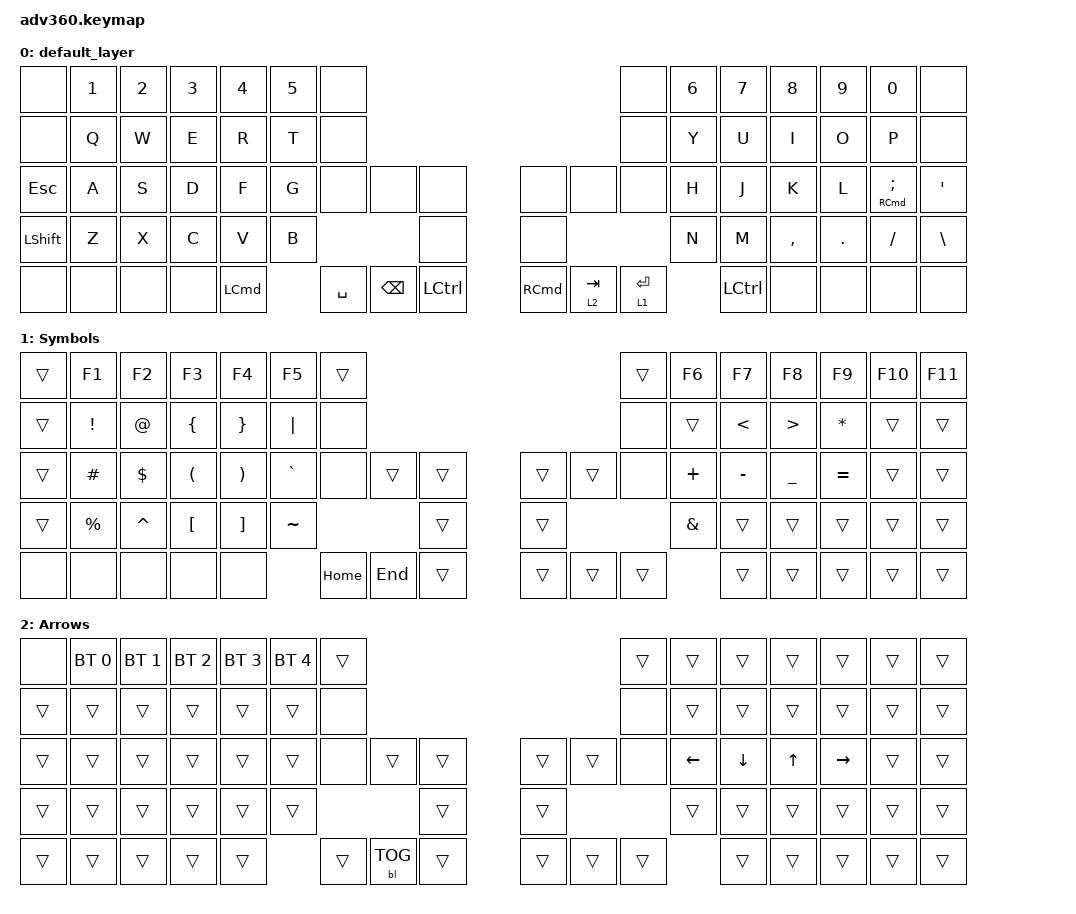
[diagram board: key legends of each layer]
#include <behaviors.dtsi>
#include <dt-bindings/zmk/backlight.h>
#include <dt-bindings/zmk/bt.h>
#include <dt-bindings/zmk/keys.h>

/ {
    behaviors {
        #include "macros.dtsi"
      #include "version.dtsi"
      #ifndef VERSION_MACRO

        macro_ver: macro_ver {
            compatible = "zmk,behavior-macro";
            label = "macro_version";
            #binding-cells = <0>;
            bindings = <&kp RET>;
        };

        #endif

        hm: homerow_mods {
            compatible = "zmk,behavior-hold-tap";
            label = "HOMEROW_MODS";
            #binding-cells = <2>;
            tapping-term-ms = <200>;
            quick_tap_ms = <175>;
            flavor = "tap-preferred";
            bindings = <&kp>, <&kp>;
        };
    };

    macros {
    };

    combos { compatible = "zmk,combos"; };

    keymap {
        compatible = "zmk,keymap";

        default_layer {
            bindings = <
&none      &kp N1  &kp N2  &kp N3  &kp N4            &kp N5  &none                                                                         &none        &kp N6  &kp N7     &kp N8     &kp N9   &kp N0                       &none
&none      &kp Q   &kp W   &kp E   &kp R             &kp T   &none                                                                         &none        &kp Y   &kp U      &kp I      &kp O    &kp P                        &none
&kp ESC    &kp A   &kp S   &kp D   &kp F             &kp G   &none      &none          &none                 &none              &none      &none        &kp H   &kp J      &kp K      &kp L    &mt RIGHT_COMMAND SEMICOLON  &kp SQT
&kp LSHFT  &kp Z   &kp X   &kp C   &kp V             &kp B                             &none                 &none                                      &kp N   &kp M      &kp COMMA  &kp DOT  &kp FSLH                     &kp BACKSLASH
&none      &none   &none   &none   &kp LEFT_COMMAND          &kp SPACE  &kp BACKSPACE  &kp LEFT_CONTROL      &kp RIGHT_COMMAND  &lt 2 TAB  &lt 1 ENTER          &kp LCTRL  &none      &none    &none                        &none
            >;
        };

        Symbols {
            bindings = <
&trans  &kp F1           &kp F2       &kp F3                &kp F4                 &kp F5     &trans                                         &trans  &kp F6         &kp F7     &kp F8          &kp F9     &kp F10  &kp F11
&trans  &kp EXCLAMATION  &kp AT_SIGN  &kp LEFT_BRACE        &kp RIGHT_BRACE        &kp PIPE   &none                                          &none   &trans         &kp LT     &kp GT          &kp STAR   &trans   &trans
&trans  &kp HASH         &kp DOLLAR   &kp LEFT_PARENTHESIS  &kp RIGHT_PARENTHESIS  &kp GRAVE  &none     &trans   &trans      &trans  &trans  &none   &kp PLUS       &kp MINUS  &kp UNDERSCORE  &kp EQUAL  &trans   &trans
&trans  &kp PERCENT      &kp CARET    &kp LEFT_BRACKET      &kp RIGHT_BRACKET      &kp TILDE                     &trans      &trans                  &kp AMPERSAND  &trans     &trans          &trans     &trans   &trans
&none   &none            &none        &none                 &none                             &kp HOME  &kp END  &trans      &trans  &trans  &trans                 &trans     &trans          &trans     &trans   &trans
            >;
        };

        Arrows {
            bindings = <
&none   &bt BT_SEL 0  &bt BT_SEL 1  &bt BT_SEL 2  &bt BT_SEL 3  &bt BT_SEL 4  &trans                                          &trans  &trans          &trans          &trans        &trans     &trans  &trans
&trans  &trans        &trans        &trans        &trans        &trans        &none                                           &none   &trans          &trans          &trans        &trans     &trans  &trans
&trans  &trans        &trans        &trans        &trans        &trans        &none   &trans      &trans      &trans  &trans  &none   &kp LEFT_ARROW  &kp DOWN_ARROW  &kp UP_ARROW  &kp RIGHT  &trans  &trans
&trans  &trans        &trans        &trans        &trans        &trans                            &trans      &trans                  &trans          &trans          &trans        &trans     &trans  &trans
&trans  &trans        &trans        &trans        &trans                      &trans  &bl BL_TOG  &trans      &trans  &trans  &trans                  &trans          &trans        &trans     &trans  &trans
            >;
        };
    };
};
